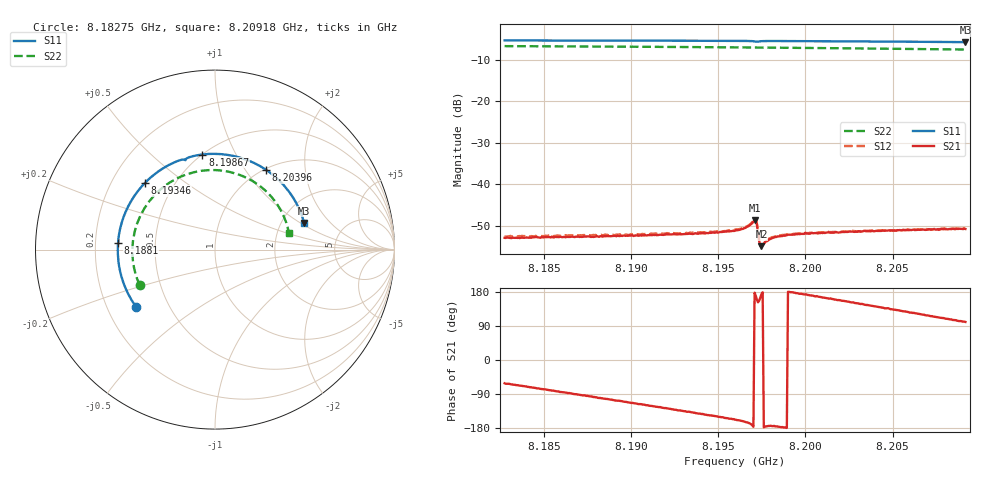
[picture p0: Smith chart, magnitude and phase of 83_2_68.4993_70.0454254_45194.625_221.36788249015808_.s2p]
#  HZ  S  RI  R  50.00
! Rohde & Schwarz Vector Network Analyzer
! Rohde-Schwarz,ZNB20-2Port,1311601062101988,3.16
! Created: UTC 3/20/2024, 5:07:23 PM
! freq[Hz]  re:S11  im:S11  re:S21  im:S21  re:S12  im:S12  re:S22  im:S22
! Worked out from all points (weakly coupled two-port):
!   401 points, 8.18275 GHz to 8.20918 GHz, reference 50 ohm
!   highest |S21| = -48.66 dB at 8.19709 GHz (marker M1); lowest = -54.9 dB at 8.19749 GHz (marker M2)
!   lowest |S11| = -5.7 dB at 8.20918 GHz (marker M3), VSWR 3.15, Z = 133 + j53.8 ohm
!   |S11| at or under -10 dB: nowhere
!   |S22| runs from -7.5 to -6.7 dB; largest |S21 - S12| = 0.0002
!   S11 on the Smith chart (normalised r, x): 8.18275 GHz: 0.32, -0.29; 8.1881 GHz: 0.30, +0.03; 8.19346 GHz: 0.34, +0.36; 8.19867 GHz: 0.50, +0.74; 8.20396 GHz: 1.02, +1.26; 8.20918 GHz: 2.66, +1.08
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8.182753e9  -0.4409 -0.3174  0.00108 -0.00199  0.0011 -0.00206  -0.4194 -0.199
8.185065e9  -0.5138 -0.1744  0.000504 -0.00226  0.000444 -0.00235  -0.4557 -0.0758
8.187179e9  -0.5411 -0.03  -0.000111 -0.00232  -0.000177 -0.00241  -0.4577 0.0417
8.188104e9  -0.5404 0.0346  -0.000409 -0.00232  -0.000459 -0.0024  -0.4493 0.0923
8.189822e9  -0.5189 0.1528  -0.000892 -0.00222  -0.000948 -0.00226  -0.4186 0.1826
8.191605e9  -0.4693 0.2672  -0.00139 -0.00202  -0.0015 -0.00205  -0.3676 0.2675
8.193455e9  -0.3912 0.3707  -0.00188 -0.0017  -0.00197 -0.00168  -0.2963 0.3416
8.195966e9  -0.2491 0.4755  -0.00254 -0.00106  -0.00265 -0.00101  -0.1753 0.4126
8.19656e9  -0.2098 0.4931  -0.00286 -0.000832  -0.00295 -0.000771  -0.144 0.4238
8.197089e9  -0.1703 0.5012  -0.00369 0.000154  -0.00374 0.000275  -0.115 0.4316
8.197155e9  -0.1663 0.4993  -0.0036 0.000678  -0.00362 0.000882  -0.1114 0.4321
8.197419e9  -0.1599 0.5063  -0.00175 0.000457  -0.00174 0.000514  -0.097 0.4351
8.197485e9  -0.1554 0.5094  -0.00178 0.000201  -0.00178 0.000277  -0.0933 0.4358
8.197551e9  -0.1507 0.5117  -0.00184 4.08e-05  -0.00187 0.000116  -0.0896 0.4367
8.198014e9  -0.1172 0.5218  -0.00218 -0.000246  -0.00226 -0.000155  -0.0637 0.4405
8.198674e9  -0.0703 0.5298  -0.00238 -0.000129  -0.00245 1.71e-05  -0.0263 0.443
8.200392e9  0.0512 0.5301  -0.00255 0.000457  -0.00253 0.00058  0.0709 0.4349
8.202176e9  0.1738 0.501  -0.00243 0.00108  -0.00242 0.00121  0.1679 0.4037
8.203959e9  0.2859 0.4437  -0.00214 0.00168  -0.00209 0.0018  0.2556 0.35
8.204818e9  0.3343 0.4068  -0.00197 0.00195  -0.00192 0.00203  0.2929 0.3169
8.207064e9  0.4375 0.2859  -0.00132 0.00254  -0.00123 0.0026  0.3709 0.2108
8.209178e9  0.4969 0.1479  -0.000524 0.00285  -0.000423 0.00293  0.4121 0.0919
